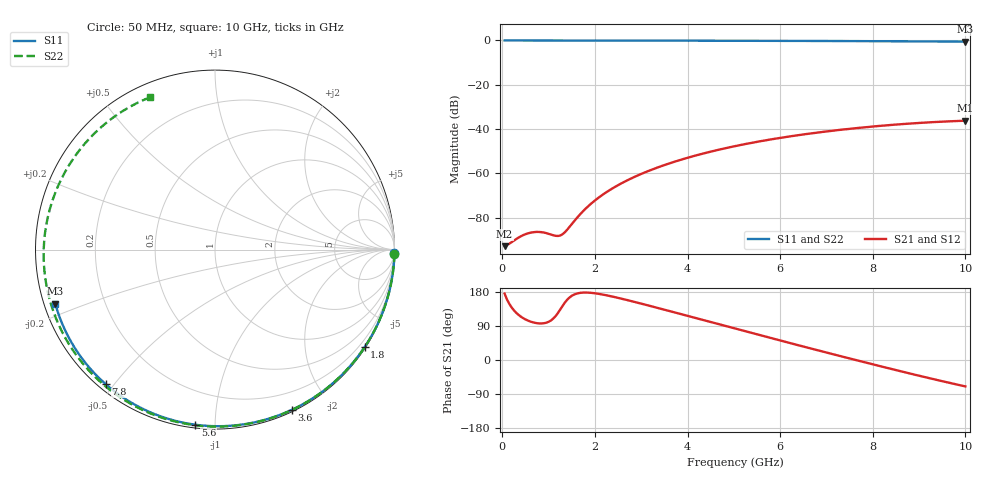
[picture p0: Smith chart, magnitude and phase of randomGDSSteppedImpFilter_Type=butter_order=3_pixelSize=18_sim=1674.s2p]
! freq	dB(S11)	phase(S11)	dB(S12)	phase(S12)
!  dB(S21)	phase(S21)	dB(S22)	phase(S22)
!S-par simulation data
#  GHz  S  DB  R 50
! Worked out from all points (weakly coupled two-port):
!   200 points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, 50 MHz to 10 GHz, reference 50 ohm
!   highest |S21| = -36.23 dB at 10 GHz (marker M1); lowest = -92.9 dB at 50 MHz (marker M2)
!   lowest |S11| = -0.5 dB at 10 GHz (marker M3), VSWR 32.16, Z = 1.6 - j8.24 ohm
!   |S11| at or under -10 dB: nowhere
!   |S22| runs from -0.7 to 0.0 dB; largest |S21 - S12| = 0
!   S11 on the Smith chart (normalised r, x): 50 MHz: open; 1.8 GHz: 0.03, -3.36; 3.6 GHz: 0.02, -1.59; 5.6 GHz: 0.02, -0.89; 7.8 GHz: 0.02, -0.48; 10 GHz: 0.03, -0.16
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0.05  -0.00 -0.9  -92.87 175.2  -92.87 175.2  -0.00 -1.3
0.8  -0.02 -14.9  -86.46 96.5  -86.46 96.5  -0.02 -20.0
1.6  -0.04 -29.5  -80.38 174.9  -80.38 174.9  -0.05 -39.7
1.75  -0.04 -32.2  -76.95 177.9  -76.95 177.9  -0.05 -43.3
1.8  -0.04 -33.1  -75.91 178.1  -75.91 178.1  -0.06 -44.5
2.1  -0.05 -38.5  -70.64 174.2  -70.64 174.2  -0.07 -51.7
2.45  -0.06 -44.6  -65.91 165.4  -65.91 165.4  -0.08 -60.0
2.9  -0.07 -52.5  -61.16 151.9  -61.16 151.9  -0.09 -70.5
3.4  -0.08 -61.0  -56.99 136.0  -56.99 136.0  -0.11 -81.9
3.6  -0.09 -64.4  -55.55 129.5  -55.55 129.5  -0.12 -86.4
4.3  -0.11 -75.9  -51.25 106.7  -51.25 106.7  -0.14 -102.1
5.05  -0.14 -87.9  -47.60 82.2  -47.60 82.2  -0.18 -118.6
5.6  -0.16 -96.4  -45.39 64.4  -45.39 64.4  -0.22 -130.6
6.15  -0.19 -104.7  -43.50 46.7  -43.50 46.7  -0.26 -142.9
6.7  -0.22 -112.9  -41.87 29.2  -41.87 29.2  -0.30 -155.3
7.25  -0.26 -121.0  -40.46 11.8  -40.46 11.8  -0.36 -168.3
7.8  -0.30 -129.0  -39.25 -5.2  -39.25 -5.2  -0.41 178.2
8.35  -0.35 -137.0  -38.22 -22.1  -38.22 -22.1  -0.48 163.7
8.75  -0.39 -142.8  -37.59 -34.1  -37.59 -34.1  -0.53 152.5
9.15  -0.44 -148.7  -37.05 -45.9  -37.05 -45.9  -0.58 140.7
9.55  -0.48 -154.5  -36.61 -57.3  -36.61 -57.3  -0.64 128.1
10  -0.54 -161.3  -36.23 -69.7  -36.23 -69.7  -0.70 112.9
